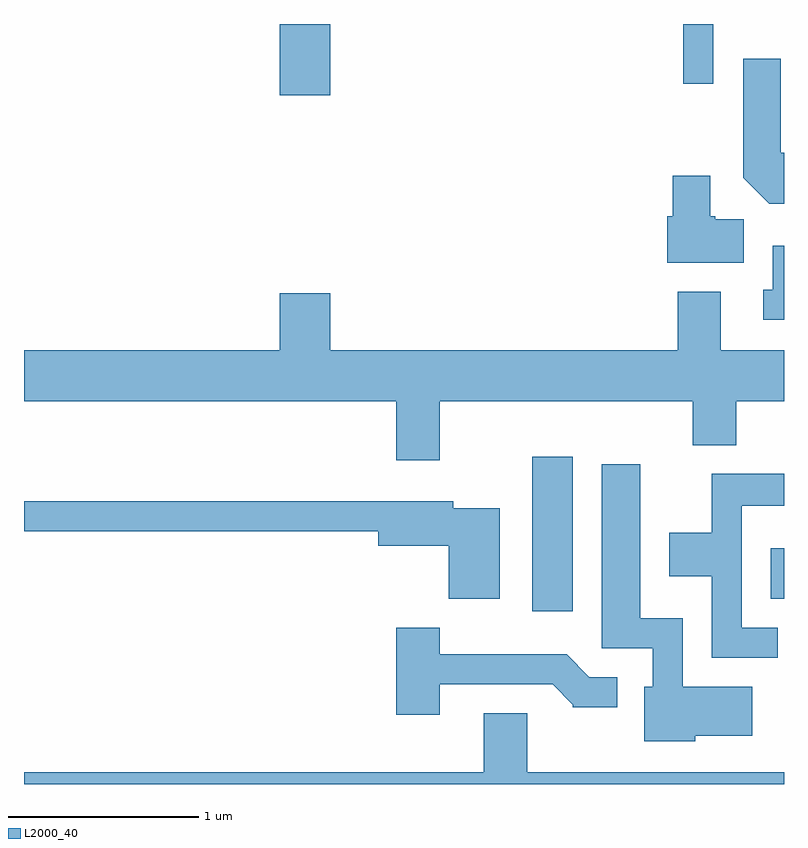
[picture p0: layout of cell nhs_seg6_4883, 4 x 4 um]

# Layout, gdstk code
import gdstk
lib = gdstk.Library(unit=1e-6, precision=1e-09)
def R(c, l, rs):  # rectangles x0, y0, x1, y1
    for r in rs: c.add(gdstk.rectangle(r[:2], r[2:], *l))
def P(c, l, *ps):  # polygons
    for p in ps: c.add(gdstk.Polygon(p, *l))
L2000_40 = (2000, 40)

nhs_seg6_4883 = lib.new_cell('nhs_seg6_4883')
R(nhs_seg6_4883, L2000_40, [(336.286,1631.071,336.499,1631.884), (337.541,1631.136,337.611,1631.404), (334.956,1633.786,335.224,1634.162), (337.081,1633.848,337.239,1634.162)])
P(nhs_seg6_4883, L2000_40, [(337.611,1633.484),(337.594,1633.484),(337.594,1633.979),(337.396,1633.979),(337.396,1633.354),(337.534,1633.216),(337.611,1633.216)],
  [(337.399,1633.134),(337.25,1633.134),(337.25,1633.149),(337.224,1633.149),(337.224,1633.364),(337.026,1633.364),(337.026,1633.149),(336.996,1633.149),(336.996,1632.906),(337.399,1632.906)],
  [(337.611,1632.994),(337.551,1632.994),(337.551,1632.764),(337.503,1632.764),(337.503,1632.606),(337.611,1632.606)],
  [(335.799,1632.176),(337.131,1632.176),(337.131,1631.946),(337.359,1631.946),(337.359,1632.176),(337.611,1632.176),(337.611,1632.444),(337.279,1632.444),(337.279,1632.754),(337.051,1632.754),(337.051,1632.444),(335.224,1632.444),(335.224,1632.744),(334.956,1632.744),(334.956,1632.444),(333.611,1632.444),(333.611,1632.176),(335.571,1632.176),(335.571,1631.866),(335.799,1631.866)],
  [(337.144,1630.416),(337.444,1630.416),(337.444,1630.674),(337.079,1630.674),(337.079,1631.034),(336.854,1631.034),(336.854,1631.844),(336.651,1631.844),(336.651,1630.876),(336.921,1630.876),(336.921,1630.674),(336.876,1630.674),(336.876,1630.386),(337.144,1630.386)],
  [(337.578,1630.984),(337.389,1630.984),(337.389,1631.626),(337.611,1631.626),(337.611,1631.794),(337.231,1631.794),(337.231,1631.484),(337.006,1631.484),(337.006,1631.256),(337.231,1631.256),(337.231,1630.826),(337.578,1630.826)],
  [(336.114,1631.614),(335.869,1631.614),(335.869,1631.649),(333.611,1631.649),(333.611,1631.491),(335.476,1631.491),(335.476,1631.416),(335.846,1631.416),(335.846,1631.136),(336.114,1631.136)],
  [(335.799,1630.686),(336.394,1630.686),(336.5,1630.58),(336.5,1630.566),(336.733,1630.566),(336.733,1630.724),(336.587,1630.724),(336.467,1630.844),(335.799,1630.844),(335.799,1630.984),(335.571,1630.984),(335.571,1630.526),(335.799,1630.526)],
  [(337.611,1630.224),(336.259,1630.224),(336.259,1630.534),(336.031,1630.534),(336.031,1630.224),(333.611,1630.224),(333.611,1630.162),(337.611,1630.162)])

lib.write_gds('nhs_seg6_4883.gds')
